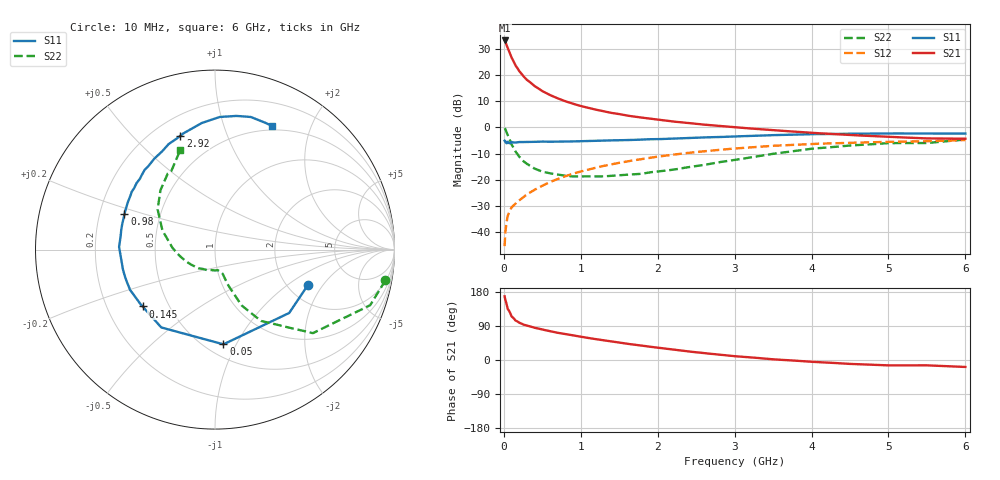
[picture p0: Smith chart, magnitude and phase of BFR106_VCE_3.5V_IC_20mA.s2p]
! Infineon Technologies  Discrete & RF Semiconductors
! BFR106
! VCE =  3.5 V,  IC =  20 mA
! Common Emitter S-Parameters:  Nov 2015
# GHz  S  MA  R  50
!  f  S11  S21  S12  S22
! GHz  MAG  ANG  MAG  ANG  MAG  ANG  MAG  ANG
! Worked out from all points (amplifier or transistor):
!   210 points, 10 MHz to 6 GHz, reference 50 ohm
!   highest |S21| = 33.1 dB at 10 MHz (marker M1)
!   |S21| within 3 dB of that: start of sweep to 53.38 MHz
!   unconditionally stable (mu >= 1): 377.5 MHz to 2.27 GHz; 5.414 GHz to end of sweep
!   at 185 MHz: K = 0.77, MSG = 25.2 dB, |S12| = -28.2 dB
!   at 1.52 GHz: K = 1.06, MAG = 7.7 dB, |S12| = -13.4 dB
!   at 6 GHz: K = 1.00, MAG = -0.1 dB, |S12| = -4.8 dB
!   S11 on the Smith chart (normalised r, x): 10 MHz: 2.56, -1.45; 50 MHz: 0.61, -0.89; 145 MHz: 0.36, -0.31; 980 MHz: 0.31, +0.17; 2.92 GHz: 0.31, +0.69; 6 GHz: 0.45, +1.47
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0.01  0.5542 -20.8  45.38 168.1  0.0054 83.8  0.965 -10.2
0.02  0.5436 -40.5  42.93 158.2  0.0102 76.5  0.9184 -19.7
0.05  0.5298 -84.9  32.99 134.9  0.0204 60.2  0.7169 -40.5
0.1  0.527 -124.6  21.5 115.0  0.0296 53.7  0.4728 -57.2
0.145  0.5129 -141.9  15.85 105.9  0.0345 53.2  0.3581 -63.5
0.15  0.5143 -143.8  15.26 104.5  0.035 53.2  0.3457 -64.4
0.2  0.5236 -154.6  11.85 98.4  0.0405 55.3  0.2753 -66.6
0.26  0.5236 -163.1  9.252 93.1  0.0473 58.3  0.2221 -69.1
0.3  0.5247 -167.7  8.033 90.4  0.0523 60.2  0.201 -70.1
0.4  0.5265 -175.5  6.113 85.1  0.0642 63.0  0.1629 -71.3
0.5  0.5346 178.4  4.91 80.2  0.0767 64.6  0.1422 -72.3
0.6  0.5308 173.3  4.126 75.9  0.0901 65.6  0.1323 -74.3
0.8  0.5357 165.5  3.138 68.3  0.1167 65.6  0.1192 -80.4
0.98  0.5421 158.5  2.598 62.2  0.1409 64.6  0.1159 -85.8
1.02  0.5441 157.0  2.505 60.8  0.1461 64.4  0.116 -87.6
1.4  0.565 145.2  1.883 49.1  0.1968 60.9  0.1191 -105.3
2.02  0.5955 128.5  1.384 31.9  0.2779 52.9  0.1447 -138.4
2.92  0.6628 107.0  1.028 11.8  0.3846 39.6  0.2291 179.8
3.1  0.6769 103.4  0.977 8.6  0.4031 36.7  0.2512 172.9
4.1  0.7416 86.5  0.77 -5.7  0.4868 21.2  0.4003 142.2
5.1  0.7638 73.8  0.649 -14.2  0.531 7.8  0.4995 121.2
6  0.759 65.2  0.606 -18.4  0.5726 -2.3  0.5854 109.4
